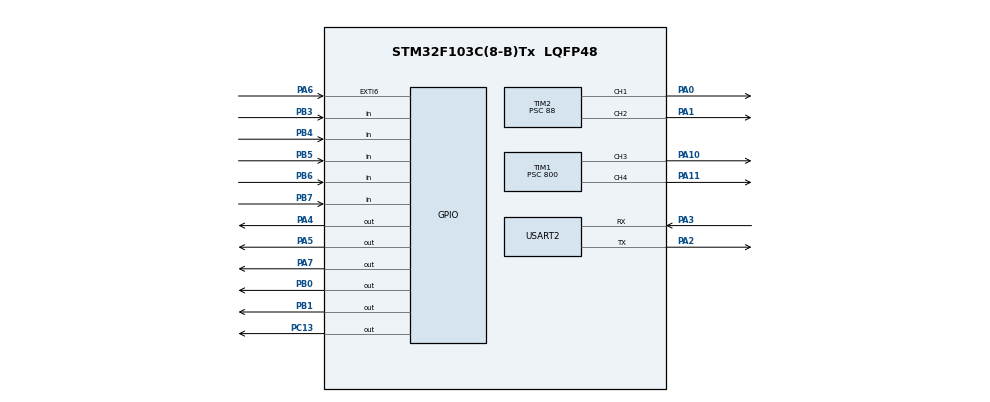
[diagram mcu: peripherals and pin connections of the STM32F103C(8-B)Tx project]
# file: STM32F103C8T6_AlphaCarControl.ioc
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Mcu.Family=STM32F1
Mcu.Name=STM32F103C(8-B)Tx
Mcu.Package=LQFP48
NVIC.PriorityGroup=NVIC_PRIORITYGROUP_4
NVIC.TIM3_IRQn=true\:0\:0\:false\:false\:true
NVIC.TIM4_IRQn=true\:0\:0\:false\:false\:true
NVIC.USART2_IRQn=true\:0\:0\:false\:false\:true
PA0-WKUP.Signal=S_TIM2_CH1_ETR
PA1.Signal=S_TIM2_CH2
PA10.Signal=S_TIM1_CH3
PA11.Signal=S_TIM1_CH4
PA13.Mode=Serial_Wire
PA13.Signal=SYS_JTMS-SWDIO
PA14.Mode=Serial_Wire
PA14.Signal=SYS_JTCK-SWCLK
PA2.Mode=Asynchronous
PA2.Signal=USART2_TX
PA3.Mode=Asynchronous
PA3.Signal=USART2_RX
PA4.Signal=GPIO_Output
PA5.Signal=GPIO_Output
PA6.GPIO_ModeDefaultEXTI=GPIO_MODE_IT_RISING_FALLING
PA6.Signal=GPXTI6
PA7.Signal=GPIO_Output
PB0.Signal=GPIO_Output
PB1.Signal=GPIO_Output
PB3.Signal=GPIO_Input
PB4.Signal=GPIO_Input
PB5.Signal=GPIO_Input
PB6.Signal=GPIO_Input
PB7.Signal=GPIO_Input
PC13-TAMPER-RTC.Signal=GPIO_Output
PC14-OSC32_IN.Mode=LSE-External-Oscillator
PC14-OSC32_IN.Signal=RCC_OSC32_IN
PC15-OSC32_OUT.Mode=LSE-External-Oscillator
PC15-OSC32_OUT.Signal=RCC_OSC32_OUT
PD0-OSC_IN.Mode=HSE-External-Oscillator
PD0-OSC_IN.Signal=RCC_OSC_IN
PD1-OSC_OUT.Mode=HSE-External-Oscillator
PD1-OSC_OUT.Signal=RCC_OSC_OUT
ProjectManager.HeapSize=0x200
ProjectManager.StackSize=0x400
ProjectManager.TargetToolchain=MDK-ARM V5
RCC.APB1Freq_Value=8000000
RCC.APB2Freq_Value=8000000
SH.S_TIM1_CH3.0=TIM1_CH3,PWM Generation3 CH3
SH.S_TIM1_CH4.0=TIM1_CH4,PWM Generation4 CH4
SH.S_TIM2_CH1_ETR.0=TIM2_CH1,PWM Generation1 CH1
SH.S_TIM2_CH2.0=TIM2_CH2,PWM Generation2 CH2
TIM1.Channel-PWM\ Generation3\ CH3=TIM_CHANNEL_3
TIM1.Channel-PWM\ Generation4\ CH4=TIM_CHANNEL_4
TIM1.Period=999
TIM1.Prescaler=800
TIM1.Pulse-PWM\ Generation3\ CH3=999
TIM1.Pulse-PWM\ Generation4\ CH4=999
TIM2.Channel-PWM\ Generation1\ CH1=TIM_CHANNEL_1
TIM2.Channel-PWM\ Generation2\ CH2=TIM_CHANNEL_2
TIM2.Period=1799
TIM2.Prescaler=88
TIM2.Pulse-PWM\ Generation1\ CH1=45
TIM2.Pulse-PWM\ Generation2\ CH2=123
TIM3.Period=9999
TIM3.Prescaler=799
TIM4.Period=160
USART2.VirtualMode=VM_ASYNC
VP_TIM3_VS_ClockSourceINT.Mode=Internal
VP_TIM4_VS_ClockSourceINT.Mode=Internal
board=STM32F103C8T6_AlphaCarControl

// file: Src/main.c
/**
  ******************************************************************************
  * File Name          : main.c
  * Description        : Main program body
  ******************************************************************************
  *
  * COPYRIGHT(c) 2019 STMicroelectronics
  *
  * Redistribution and use in source and binary forms, with or without modification,
  * are permitted provided that the following conditions are met:
  *   1. Redistributions of source code must retain the above copyright notice,
  *      this list of conditions and the following disclaimer.
  *   2. Redistributions in binary form must reproduce the above copyright notice,
  *      this list of conditions and the following disclaimer in the documentation
  *      and/or other materials provided with the distribution.
  *   3. Neither the name of STMicroelectronics nor the names of its contributors
  *      may be used to endorse or promote products derived from this software
  *      without specific prior written permission.
  *
  * THIS SOFTWARE IS PROVIDED BY THE COPYRIGHT HOLDERS AND CONTRIBUTORS "AS IS"
  * AND ANY EXPRESS OR IMPLIED WARRANTIES, INCLUDING, BUT NOT LIMITED TO, THE
  * IMPLIED WARRANTIES OF MERCHANTABILITY AND FITNESS FOR A PARTICULAR PURPOSE ARE
  * DISCLAIMED. IN NO EVENT SHALL THE COPYRIGHT HOLDER OR CONTRIBUTORS BE LIABLE
  * FOR ANY DIRECT, INDIRECT, INCIDENTAL, SPECIAL, EXEMPLARY, OR CONSEQUENTIAL
  * DAMAGES (INCLUDING, BUT NOT LIMITED TO, PROCUREMENT OF SUBSTITUTE GOODS OR
  * SERVICES; LOSS OF USE, DATA, OR PROFITS; OR BUSINESS INTERRUPTION) HOWEVER
  * CAUSED AND ON ANY THEORY OF LIABILITY, WHETHER IN CONTRACT, STRICT LIABILITY,
  * OR TORT (INCLUDING NEGLIGENCE OR OTHERWISE) ARISING IN ANY WAY OUT OF THE USE
  * OF THIS SOFTWARE, EVEN IF ADVISED OF THE POSSIBILITY OF SUCH DAMAGE.
  *
  ******************************************************************************
  */
#include "main.h"
#include "stm32f1xx_hal.h"

/* USER CODE BEGIN Includes */
#include "car_motor.h"
#include "SG90_motor.h"
#include "stdio.h"

#define DEBUG

//#define CMSIS_LIB

#ifdef CMSIS_LIB
										//使用CMSIS库函数
#define ARM_MATH_CM3
#include "arm_math.h"
#include "arm_const_structs.h"
#endif

/* USER CODE END Includes */

TIM_HandleTypeDef htim1;
TIM_HandleTypeDef htim2;
TIM_HandleTypeDef htim3;
TIM_HandleTypeDef htim4;

UART_HandleTypeDef huart2;

/* USER CODE BEGIN PV */
/* Private variables ---------------------------------------------------------*/
uint8_t RxData[2] = {0xff,0xff};

/* USER CODE END PV */

void SystemClock_Config(void);
void Error_Handler(void);
static void MX_GPIO_Init(void);
static void MX_TIM2_Init(void);
static void MX_TIM4_Init(void);
static void MX_TIM3_Init(void);
static void MX_TIM1_Init(void);
static void MX_USART2_UART_Init(void);
void HAL_TIM_MspPostInit(TIM_HandleTypeDef *htim);

/* USER CODE BEGIN PFP */
/* Private function prototypes -----------------------------------------------*/

/* USER CODE END PFP */

/* USER CODE BEGIN 0 */
void led_flashing()
{
	HAL_GPIO_WritePin(GPIOC, GPIO_PIN_13, GPIO_PIN_SET);	//LED闪烁
	HAL_Delay(1000);
	HAL_GPIO_WritePin(GPIOC, GPIO_PIN_13, GPIO_PIN_RESET);
	HAL_Delay(1000);
}

/* USER CODE END 0 */

int main(void)
{

  /* USER CODE BEGIN 1 */
#ifdef CMSIS_LIB
	q7_t Dst[2] = {0};
	q7_t Src[2] = {-19,-16};
#endif
  /* USER CODE END 1 */

  /* MCU Configuration----------------------------------------------------------*/

  /* Reset of all peripherals, Initializes the Flash interface and the Systick. */
  HAL_Init();

  /* Configure the system clock */
  SystemClock_Config();

  /* Initialize all configured peripherals */
  MX_GPIO_Init();
  MX_TIM2_Init();
  MX_TIM4_Init();
  MX_TIM3_Init();
  MX_TIM1_Init();
  MX_USART2_UART_Init();

  /* USER CODE BEGIN 2 */
	PWM_init();
	SG90_motor_init();
	HAL_UART_Receive_IT(&huart2, RxData, 2);

#ifdef CMSIS_LIB
	arm_abs_q7(Src,Dst,2);	//求Dst对应空间的绝对数并存入Src对应空间
	HAL_UART_Transmit(&huart2,Dst , 2, 0);
#endif

#ifdef DEBUG
	printf("main init is ok!\n");
#endif

  /* USER CODE END 2 */
  /* Infinite loop */
  while (1)
  {

  /* USER CODE BEGIN 3 */
		led_flashing();

  }
  /* USER CODE END 3 */

}

/** System Clock Configuration
*/
void SystemClock_Config(void)
{

  RCC_OscInitTypeDef RCC_OscInitStruct;
  RCC_ClkInitTypeDef RCC_ClkInitStruct;

    /**Initializes the CPU, AHB and APB busses clocks
    */
  RCC_OscInitStruct.OscillatorType = RCC_OSCILLATORTYPE_HSI;
  RCC_OscInitStruct.HSIState = RCC_HSI_ON;
  RCC_OscInitStruct.HSICalibrationValue = 16;
  RCC_OscInitStruct.PLL.PLLState = RCC_PLL_NONE;
  if (HAL_RCC_OscConfig(&RCC_OscInitStruct) != HAL_OK)
  {
    Error_Handler();
  }

    /**Initializes the CPU, AHB and APB busses clocks
    */
  RCC_ClkInitStruct.ClockType = RCC_CLOCKTYPE_HCLK|RCC_CLOCKTYPE_SYSCLK
                              |RCC_CLOCKTYPE_PCLK1|RCC_CLOCKTYPE_PCLK2;
  RCC_ClkInitStruct.SYSCLKSource = RCC_SYSCLKSOURCE_HSI;
  RCC_ClkInitStruct.AHBCLKDivider = RCC_SYSCLK_DIV1;
  RCC_ClkInitStruct.APB1CLKDivider = RCC_HCLK_DIV1;
  RCC_ClkInitStruct.APB2CLKDivider = RCC_HCLK_DIV1;

  if (HAL_RCC_ClockConfig(&RCC_ClkInitStruct, FLASH_LATENCY_0) != HAL_OK)
  {
    Error_Handler();
  }

    /**Configure the Systick interrupt time
    */
  HAL_SYSTICK_Config(HAL_RCC_GetHCLKFreq()/1000);

    /**Configure the Systick
    */
  HAL_SYSTICK_CLKSourceConfig(SYSTICK_CLKSOURCE_HCLK);

  /* SysTick_IRQn interrupt configuration */
  HAL_NVIC_SetPriority(SysTick_IRQn, 0, 0);
}

/* TIM1 init function */
static void MX_TIM1_Init(void)
{

  TIM_MasterConfigTypeDef sMasterConfig;
  TIM_OC_InitTypeDef sConfigOC;
  TIM_BreakDeadTimeConfigTypeDef sBreakDeadTimeConfig;

  htim1.Instance = TIM1;
  htim1.Init.Prescaler = 800;
  htim1.Init.CounterMode = TIM_COUNTERMODE_UP;
  htim1.Init.Period = 999;
  htim1.Init.ClockDivision = TIM_CLOCKDIVISION_DIV1;
  htim1.Init.RepetitionCounter = 0;
  if (HAL_TIM_PWM_Init(&htim1) != HAL_OK)
  {
    Error_Handler();
  }

  sMasterConfig.MasterOutputTrigger = TIM_TRGO_RESET;
  sMasterConfig.MasterSlaveMode = TIM_MASTERSLAVEMODE_DISABLE;
  if (HAL_TIMEx_MasterConfigSynchronization(&htim1, &sMasterConfig) != HAL_OK)
  {
    Error_Handler();
  }

  sConfigOC.OCMode = TIM_OCMODE_PWM1;
  sConfigOC.Pulse = 999;
  sConfigOC.OCPolarity = TIM_OCPOLARITY_HIGH;
  sConfigOC.OCNPolarity = TIM_OCNPOLARITY_HIGH;
  sConfigOC.OCFastMode = TIM_OCFAST_DISABLE;
  sConfigOC.OCIdleState = TIM_OCIDLESTATE_RESET;
  sConfigOC.OCNIdleState = TIM_OCNIDLESTATE_RESET;
  if (HAL_TIM_PWM_ConfigChannel(&htim1, &sConfigOC, TIM_CHANNEL_3) != HAL_OK)
  {
    Error_Handler();
  }

  if (HAL_TIM_PWM_ConfigChannel(&htim1, &sConfigOC, TIM_CHANNEL_4) != HAL_OK)
  {
    Error_Handler();
  }

  sBreakDeadTimeConfig.OffStateRunMode = TIM_OSSR_DISABLE;
  sBreakDeadTimeConfig.OffStateIDLEMode = TIM_OSSI_DISABLE;
  sBreakDeadTimeConfig.LockLevel = TIM_LOCKLEVEL_OFF;
  sBreakDeadTimeConfig.DeadTime = 0;
  sBreakDeadTimeConfig.BreakState = TIM_BREAK_DISABLE;
  sBreakDeadTimeConfig.BreakPolarity = TIM_BREAKPOLARITY_HIGH;
  sBreakDeadTimeConfig.AutomaticOutput = TIM_AUTOMATICOUTPUT_DISABLE;
  if (HAL_TIMEx_ConfigBreakDeadTime(&htim1, &sBreakDeadTimeConfig) != HAL_OK)
  {
    Error_Handler();
  }

  HAL_TIM_MspPostInit(&htim1);

}

/* TIM2 init function */
static void MX_TIM2_Init(void)
{

  TIM_MasterConfigTypeDef sMasterConfig;
  TIM_OC_InitTypeDef sConfigOC;

  htim2.Instance = TIM2;
  htim2.Init.Prescaler = 88;
  htim2.Init.CounterMode = TIM_COUNTERMODE_UP;
  htim2.Init.Period = 1799;
  htim2.Init.ClockDivision = TIM_CLOCKDIVISION_DIV1;
  if (HAL_TIM_PWM_Init(&htim2) != HAL_OK)
  {
    Error_Handler();
  }

  sMasterConfig.MasterOutputTrigger = TIM_TRGO_RESET;
  sMasterConfig.MasterSlaveMode = TIM_MASTERSLAVEMODE_DISABLE;
  if (HAL_TIMEx_MasterConfigSynchronization(&htim2, &sMasterConfig) != HAL_OK)
  {
    Error_Handler();
  }

  sConfigOC.OCMode = TIM_OCMODE_PWM1;
  sConfigOC.Pulse = 45;
  sConfigOC.OCPolarity = TIM_OCPOLARITY_HIGH;
  sConfigOC.OCFastMode = TIM_OCFAST_DISABLE;
  if (HAL_TIM_PWM_ConfigChannel(&htim2, &sConfigOC, TIM_CHANNEL_1) != HAL_OK)
  {
    Error_Handler();
  }

  sConfigOC.Pulse = 123;
  if (HAL_TIM_PWM_ConfigChannel(&htim2, &sConfigOC, TIM_CHANNEL_2) != HAL_OK)
  {
    Error_Handler();
  }

  HAL_TIM_MspPostInit(&htim2);

}

/* TIM3 init function */
static void MX_TIM3_Init(void)
{

  TIM_ClockConfigTypeDef sClockSourceConfig;
  TIM_MasterConfigTypeDef sMasterConfig;

  htim3.Instance = TIM3;
  htim3.Init.Prescaler = 799;
  htim3.Init.CounterMode = TIM_COUNTERMODE_UP;
  htim3.Init.Period = 9999;
  htim3.Init.ClockDivision = TIM_CLOCKDIVISION_DIV1;
  if (HAL_TIM_Base_Init(&htim3) != HAL_OK)
  {
    Error_Handler();
  }

  sClockSourceConfig.ClockSource = TIM_CLOCKSOURCE_INTERNAL;
  if (HAL_TIM_ConfigClockSource(&htim3, &sClockSourceConfig) != HAL_OK)
  {
    Error_Handler();
  }

  sMasterConfig.MasterOutputTrigger = TIM_TRGO_RESET;
  sMasterConfig.MasterSlaveMode = TIM_MASTERSLAVEMODE_DISABLE;
  if (HAL_TIMEx_MasterConfigSynchronization(&htim3, &sMasterConfig) != HAL_OK)
  {
    Error_Handler();
  }

}

/* TIM4 init function */
static void MX_TIM4_Init(void)
{

  TIM_ClockConfigTypeDef sClockSourceConfig;
  TIM_MasterConfigTypeDef sMasterConfig;

  htim4.Instance = TIM4;
  htim4.Init.Prescaler = 0;
  htim4.Init.CounterMode = TIM_COUNTERMODE_UP;
  htim4.Init.Period = 160;
  htim4.Init.ClockDivision = TIM_CLOCKDIVISION_DIV1;
  if (HAL_TIM_Base_Init(&htim4) != HAL_OK)
  {
    Error_Handler();
  }

  sClockSourceConfig.ClockSource = TIM_CLOCKSOURCE_INTERNAL;
  if (HAL_TIM_ConfigClockSource(&htim4, &sClockSourceConfig) != HAL_OK)
  {
    Error_Handler();
  }

  sMasterConfig.MasterOutputTrigger = TIM_TRGO_RESET;
  sMasterConfig.MasterSlaveMode = TIM_MASTERSLAVEMODE_DISABLE;
  if (HAL_TIMEx_MasterConfigSynchronization(&htim4, &sMasterConfig) != HAL_OK)
  {
    Error_Handler();
  }

}

/* USART2 init function */
static void MX_USART2_UART_Init(void)
{

  huart2.Instance = USART2;
  huart2.Init.BaudRate = 115200;
  huart2.Init.WordLength = UART_WORDLENGTH_8B;
  huart2.Init.StopBits = UART_STOPBITS_1;
  huart2.Init.Parity = UART_PARITY_NONE;
  huart2.Init.Mode = UART_MODE_TX_RX;
  huart2.Init.HwFlowCtl = UART_HWCONTROL_NONE;
  huart2.Init.OverSampling = UART_OVERSAMPLING_16;
  if (HAL_UART_Init(&huart2) != HAL_OK)
  {
    Error_Handler();
  }

}

/** Configure pins as
        * Analog
        * Input
        * Output
        * EVENT_OUT
        * EXTI
*/
static void MX_GPIO_Init(void)
{

  GPIO_InitTypeDef GPIO_InitStruct;

  /* GPIO Ports Clock Enable */
  __HAL_RCC_GPIOC_CLK_ENABLE();
  __HAL_RCC_GPIOD_CLK_ENABLE();
  __HAL_RCC_GPIOA_CLK_ENABLE();
  __HAL_RCC_GPIOB_CLK_ENABLE();

  /*Configure GPIO pin Output Level */
  HAL_GPIO_WritePin(GPIOC, GPIO_PIN_13, GPIO_PIN_RESET);

  /*Configure GPIO pin Output Level */
  HAL_GPIO_WritePin(GPIOA, GPIO_PIN_4|GPIO_PIN_5|GPIO_PIN_7, GPIO_PIN_RESET);

  /*Configure GPIO pin Output Level */
  HAL_GPIO_WritePin(GPIOB, GPIO_PIN_0|GPIO_PIN_1, GPIO_PIN_RESET);

  /*Configure GPIO pin : PC13 */
  GPIO_InitStruct.Pin = GPIO_PIN_13;
  GPIO_InitStruct.Mode = GPIO_MODE_OUTPUT_PP;
  GPIO_InitStruct.Speed = GPIO_SPEED_FREQ_LOW;
  HAL_GPIO_Init(GPIOC, &GPIO_InitStruct);

  /*Configure GPIO pins : PA4 PA5 PA7 */
  GPIO_InitStruct.Pin = GPIO_PIN_4|GPIO_PIN_5|GPIO_PIN_7;
  GPIO_InitStruct.Mode = GPIO_MODE_OUTPUT_PP;
  GPIO_InitStruct.Speed = GPIO_SPEED_FREQ_LOW;
  HAL_GPIO_Init(GPIOA, &GPIO_InitStruct);

  /*Configure GPIO pin : PA6 */
  GPIO_InitStruct.Pin = GPIO_PIN_6;
  GPIO_InitStruct.Mode = GPIO_MODE_IT_RISING_FALLING;
  GPIO_InitStruct.Pull = GPIO_NOPULL;
  HAL_GPIO_Init(GPIOA, &GPIO_InitStruct);

  /*Configure GPIO pins : PB0 PB1 */
  GPIO_InitStruct.Pin = GPIO_PIN_0|GPIO_PIN_1;
  GPIO_InitStruct.Mode = GPIO_MODE_OUTPUT_PP;
  GPIO_InitStruct.Speed = GPIO_SPEED_FREQ_LOW;
  HAL_GPIO_Init(GPIOB, &GPIO_InitStruct);

  /*Configure GPIO pins : PB3 PB4 PB5 PB6
                           PB7 */
  GPIO_InitStruct.Pin = GPIO_PIN_3|GPIO_PIN_4|GPIO_PIN_5|GPIO_PIN_6
                          |GPIO_PIN_7;
  GPIO_InitStruct.Mode = GPIO_MODE_INPUT;
  GPIO_InitStruct.Pull = GPIO_NOPULL;
  HAL_GPIO_Init(GPIOB, &GPIO_InitStruct);

}

/* USER CODE BEGIN 4 */

//@function: UART2_interrupt_handle
void HAL_UART_RxCpltCallback(UART_HandleTypeDef *huart)
{
		switch(RxData[0]){
			case 0x00: 	//小车方向控制
								switch(RxData[1]){
									case 0x01:	//前行
												car_foreward();
														break;
									case 0x02:	//后退
												car_backward();
														break;
									case 0x03:	//左转
												car_left_in_position();
														break;
									case 0x04:	//右转
												car_right_in_position();
														break;
									case 0x05: //停止
												car_stop();
														break;
									default : break;
								}
						break;
			case 0x02:  //摄像头云台控制
								switch(RxData[1]){
									case 0x01://摄像头上
												camera_up_move();
												break;
									case 0x02://摄像头下
												camera_down_move();
												break;
									case 0x03://摄像头左
												camera_left_move();
												break;
									case 0x04://摄像头右
												camera_right_move();
												break;
									default: break;
								}
						break;
			default : break;
		}
		//HAL_UART_Transmit(&huart2,RxData , 2, 0);
		HAL_UART_Receive_IT(&huart2, RxData, 2);
}

//printf函数重定向
int fputc(int ch, FILE *f)
{
	uint8_t temp[1] = {ch};
	HAL_UART_Transmit(&huart2,temp , 1, 2);
	return ch;
}

/* USER CODE END 4 */

void Error_Handler(void)
{
  while(1)
  {
  }
}

/************************ (C) COPYRIGHT STMicroelectronics *****END OF FILE****/
